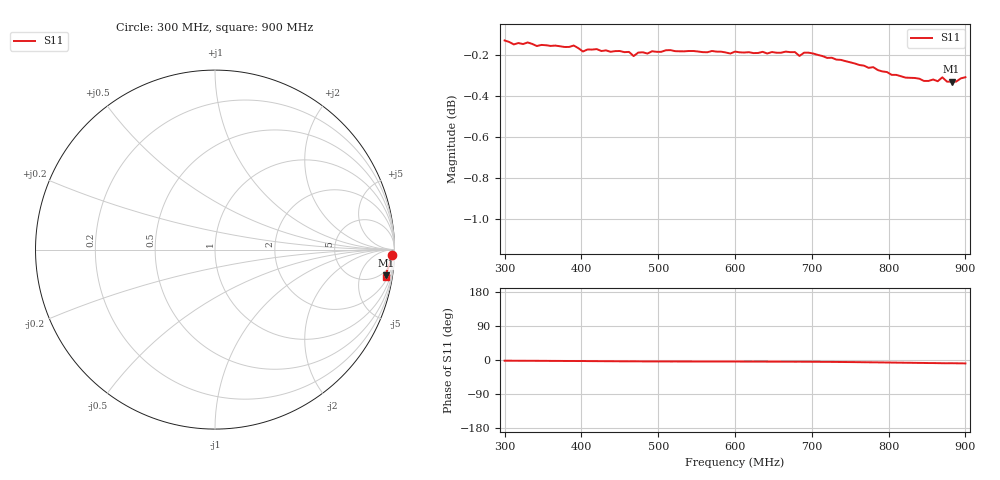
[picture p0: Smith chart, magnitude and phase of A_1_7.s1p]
# HZ S RI R 50
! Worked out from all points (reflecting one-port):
!   101 points, 300 MHz to 900 MHz, reference 50 ohm
!   lowest |S11| = -0.3 dB at 882 MHz (marker M1), VSWR 52.29, Z = 163 - j631 ohm
!   phase of S11 starts at -2 deg and turns -7 deg over the sweep
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3e8  0.9844 -0.0318
3.12e8  0.9822 -0.0329
3.3e8  0.9832 -0.0358
3.78e8  0.9804 -0.0436
3.96e8  0.9796 -0.047
4.02e8  0.9779 -0.0451
4.08e8  0.9788 -0.0492
4.5e8  0.9774 -0.0581
4.62e8  0.9768 -0.0604
4.68e8  0.9746 -0.0584
4.8e8  0.9765 -0.0624
5.28e8  0.9767 -0.0672
6e8  0.9764 -0.0695
6.24e8  0.9755 -0.07
6.78e8  0.9756 -0.0765
6.84e8  0.9735 -0.0759
6.96e8  0.9751 -0.0783
7.2e8  0.9718 -0.083
7.5e8  0.9686 -0.0924
8.22e8  0.957 -0.1218
8.28e8  0.9567 -0.1228
8.52e8  0.9534 -0.1348
8.58e8  0.9542 -0.1349
8.64e8  0.9527 -0.1388
8.7e8  0.9542 -0.1426
8.76e8  0.9517 -0.1438
8.82e8  0.9519 -0.1422
9e8  0.953 -0.1513
